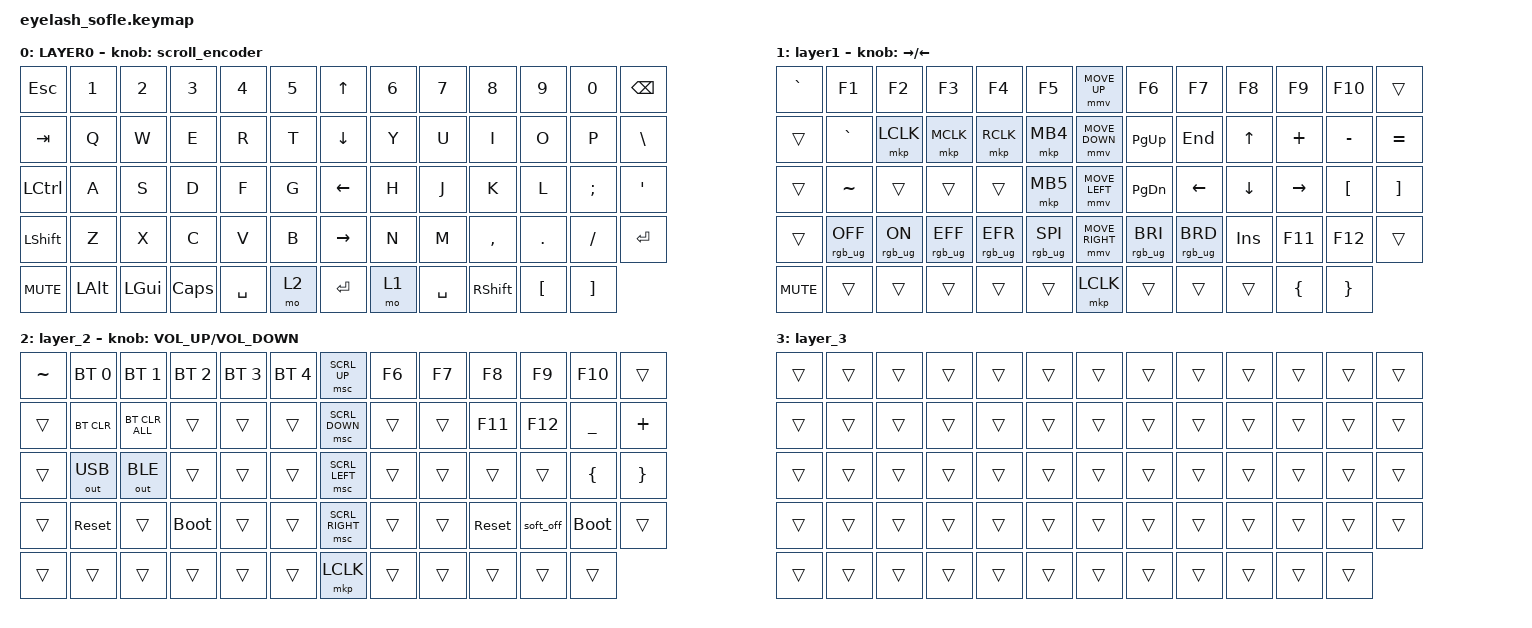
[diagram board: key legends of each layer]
#include <input/processors.dtsi>
#include <zephyr/dt-bindings/input/input-event-codes.h>

#define ZMK_POINTING_DEFAULT_MOVE_VAL 800  // 600
#define ZMK_POINTING_DEFAULT_SCRL_VAL 120    // 10

#include <behaviors.dtsi>
#include <dt-bindings/zmk/bt.h>
#include <dt-bindings/zmk/keys.h>
#include <dt-bindings/zmk/outputs.h>
#include <dt-bindings/zmk/pointing.h>
#include <dt-bindings/zmk/rgb.h>

/ {
    input_processors {
        zip_scroll_scaler: zip_scroll_scaler {
            compatible = "zmk,input-processor-scaler";
            #input-processor-cells = <2>;
            type = <INPUT_EV_REL>;
            codes = <INPUT_REL_WHEEL INPUT_REL_HWHEEL>;
            track-remainders;
        };
    };
};

&mmv_input_listener { input-processors = <&zip_xy_scaler 2 1>; };

&msc_input_listener { input-processors = <&zip_scroll_scaler 1 2>; };

&msc {
    acceleration-exponent = <0>;      // 0
    time-to-max-speed-ms = <0>;       // 300
    delay-ms = <0>;                   // 0
    trigger-period-ms = <10>;
};

&mmv {
    time-to-max-speed-ms = <400>;
    acceleration-exponent = <1>;
};

/ {
    scroll_encoder: scroll_encoder {
        compatible = "zmk,behavior-sensor-rotate";
        #sensor-binding-cells = <0>;
        bindings = <&msc SCRL_DOWN>, <&msc SCRL_UP>;

        tap-ms = <10>;
    };

    behaviors {
    };

    keymap {
        compatible = "zmk,keymap";

        layer0 {
            bindings = <
&kp ESC           &kp N1        &kp N2        &kp N3    &kp N4     &kp N5    &kp UP_ARROW     &kp N6  &kp N7     &kp N8           &kp N9            &kp N0             &kp BACKSPACE
&kp TAB           &kp Q         &kp W         &kp E     &kp R      &kp T     &kp DOWN_ARROW   &kp Y   &kp U      &kp I            &kp O             &kp P              &kp BACKSLASH
&kp LEFT_CONTROL  &kp A         &kp S         &kp D     &kp F      &kp G     &kp LEFT_ARROW   &kp H   &kp J      &kp K            &kp L             &kp SEMI           &kp APOS
&kp LSHFT         &kp Z         &kp X         &kp C     &kp V      &kp B     &kp RIGHT_ARROW  &kp N   &kp M      &kp COMMA        &kp DOT           &kp FSLH           &kp ENTER
&kp C_MUTE        &kp LEFT_ALT  &kp LEFT_GUI  &kp CAPS  &kp SPACE  &mo 2     &kp ENTER        &mo 1   &kp SPACE  &kp RIGHT_SHIFT  &kp LEFT_BRACKET  &kp RIGHT_BRACKET
            >;

            sensor-bindings = <&scroll_encoder>;
            display-name = "LAYER0";
        };

        layer_1 {
            bindings = <
&kp GRAVE   &kp F1           &kp F2          &kp F3           &kp F4           &kp F5             &mmv MOVE_UP     &kp F6           &kp F7           &kp F8      &kp F9          &kp F10           &trans
&trans      &kp GRAVE        &mkp LCLK       &mkp MCLK        &mkp RCLK        &mkp MB4           &mmv MOVE_DOWN   &kp PG_UP        &kp END          &kp UP      &kp PLUS        &kp MINUS         &kp EQUAL
&trans      &kp TILDE        &trans          &trans           &trans           &mkp MB5           &mmv MOVE_LEFT   &kp PG_DN        &kp LEFT         &kp DOWN    &kp RIGHT       &kp LEFT_BRACKET  &kp RIGHT_BRACKET
&trans      &rgb_ug RGB_OFF  &rgb_ug RGB_ON  &rgb_ug RGB_EFF  &rgb_ug RGB_EFR  &rgb_ug RGB_SPI    &mmv MOVE_RIGHT  &rgb_ug RGB_BRI  &rgb_ug RGB_BRD  &kp INSERT  &kp F11         &kp F12           &trans
&kp C_MUTE  &trans           &trans          &trans           &trans           &trans             &mkp LCLK        &trans           &trans           &trans      &kp LEFT_BRACE  &kp RIGHT_BRACE
            >;

            display-name = "layer1";
            sensor-bindings = <&inc_dec_kp RIGHT LEFT>;
        };

        layer_2 {
            bindings = <
&kp TILDE  &bt BT_SEL 0  &bt BT_SEL 1    &bt BT_SEL 2  &bt BT_SEL 3  &bt BT_SEL 4    &msc SCRL_UP     &kp F6  &kp F7  &kp F8      &kp F9     &kp F10      &trans
&trans     &bt BT_CLR    &bt BT_CLR_ALL  &trans        &trans        &trans          &msc SCRL_DOWN   &trans  &trans  &kp F11     &kp F12    &kp UNDER    &kp PLUS
&trans     &out OUT_USB  &out OUT_BLE    &trans        &trans        &trans          &msc SCRL_LEFT   &trans  &trans  &trans      &trans     &kp LBRC     &kp RBRC
&trans     &sys_reset    &trans          &bootloader   &trans        &trans          &msc SCRL_RIGHT  &trans  &trans  &sys_reset  &soft_off  &bootloader  &trans
&trans     &trans        &trans          &trans        &trans        &trans          &mkp LCLK        &trans  &trans  &trans      &trans     &trans
            >;

            sensor-bindings = <&inc_dec_kp C_VOLUME_UP C_VOLUME_DOWN>;
        };

        layer_3 {
            bindings = <
&trans  &trans  &trans  &trans  &trans  &trans    &trans  &trans  &trans  &trans  &trans  &trans  &trans
&trans  &trans  &trans  &trans  &trans  &trans    &trans  &trans  &trans  &trans  &trans  &trans  &trans
&trans  &trans  &trans  &trans  &trans  &trans    &trans  &trans  &trans  &trans  &trans  &trans  &trans
&trans  &trans  &trans  &trans  &trans  &trans    &trans  &trans  &trans  &trans  &trans  &trans  &trans
&trans  &trans  &trans  &trans  &trans  &trans    &trans  &trans  &trans  &trans  &trans  &trans
            >;
        };
    };
};
